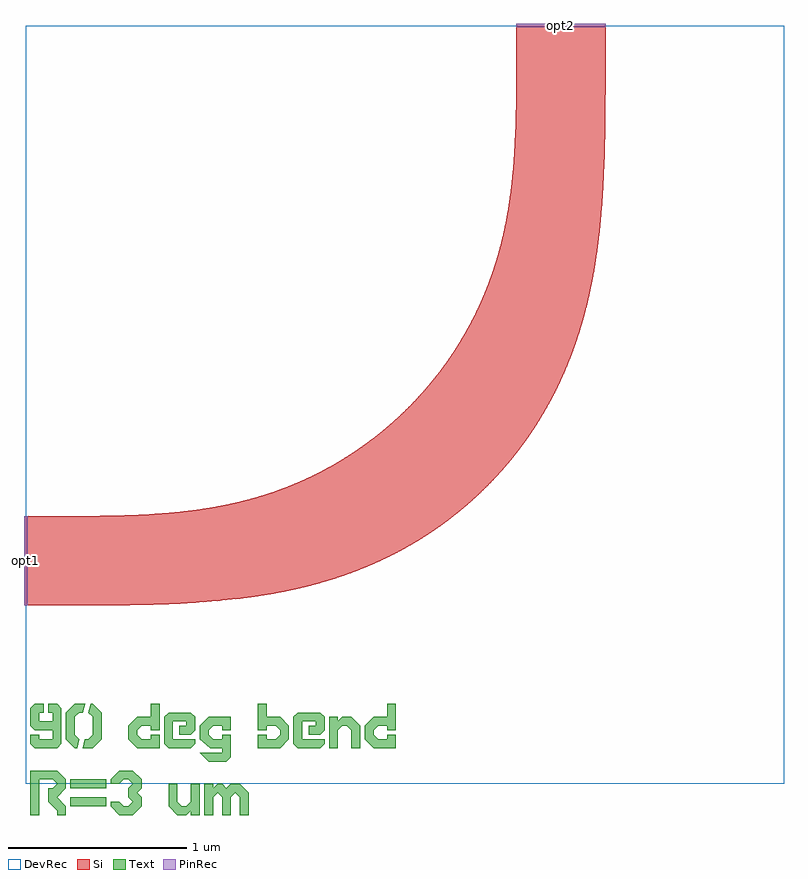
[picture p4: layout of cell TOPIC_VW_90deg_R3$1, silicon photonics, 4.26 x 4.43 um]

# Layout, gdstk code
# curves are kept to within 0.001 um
import gdstk
lib = gdstk.Library(unit=1e-6, precision=1e-09)
def R(c, l, rs):  # rectangles x0, y0, x1, y1
    for r in rs: c.add(gdstk.rectangle(r[:2], r[2:], *l))
def P(c, l, *ps):  # polygons
    for p in ps: c.add(gdstk.Polygon(p, *l))
Si = (1, 0)
PinRec = (1, 10)
Text = (10, 0)
DevRec = (68, 0)

text_gdsfactorypcomponen = lib.new_cell('text_gdsfactorypcomponentsptextsptext_T90_deg_bend*R3_u_a4dcf2a8$1')
R(text_gdsfactorypcomponen, Text, [(0.25,-0.325,0.45,-0.275), (0.25,-0.225,0.45,-0.175)])
P(text_gdsfactorypcomponen, Text, [(0.85,-0.375),(0.8,-0.325),(0.8,-0.2),(0.85,-0.2),(0.85,-0.3),(0.875,-0.325),(0.9,-0.325),(0.925,-0.3),(0.925,-0.2),(0.975,-0.2),(0.975,-0.375),(0.925,-0.375),(0.925,-0.35),(0.9,-0.375)],
  [(1,-0.375),(1,-0.2),(1.05,-0.2),(1.05,-0.225),(1.075,-0.2),(1.1,-0.2),(1.125,-0.225),(1.15,-0.2),(1.2,-0.2),(1.25,-0.25),(1.25,-0.375),(1.2,-0.375),(1.2,-0.275),(1.175,-0.25),(1.15,-0.275),(1.15,-0.375),(1.1,-0.375),(1.1,-0.275),(1.075,-0.25),(1.05,-0.275),(1.05,-0.375)],
  [(0.8,0),(0.775,0.025),(0.775,0.175),(0.8,0.2),(0.925,0.2),(0.95,0.175),(0.95,0.1),(0.925,0.075),(0.86,0.075),(0.86,0.125),(0.9,0.125),(0.9,0.15),(0.825,0.15),(0.825,0.05),(0.95,0.05),(0.95,0.025),(0.925,0)],
  [(1.525,0),(1.5,0.025),(1.5,0.175),(1.525,0.2),(1.65,0.2),(1.675,0.175),(1.675,0.1),(1.65,0.075),(1.585,0.075),(1.585,0.125),(1.625,0.125),(1.625,0.15),(1.55,0.15),(1.55,0.05),(1.675,0.05),(1.675,0.025),(1.65,0)],
  [(0.05,0),(0.025,0.025),(0.025,0.075),(0.075,0.075),(0.075,0.05),(0.15,0.05),(0.15,0.1),(0.05,0.1),(0.025,0.125),(0.025,0.225),(0.05,0.25),(0.1,0.25),(0.1,0.2),(0.075,0.2),(0.075,0.15),(0.15,0.15),(0.15,0.2),(0.125,0.2),(0.125,0.25),(0.175,0.25),(0.2,0.225),(0.2,0.025),(0.175,0)],
  [(0.275,0),(0.225,0.05),(0.225,0.2),(0.275,0.25),(0.333,0.25),(0.32,0.2),(0.3,0.2),(0.275,0.175),(0.275,0.075),(0.3,0.05),(0.288,0)],
  [(0.025,-0.375),(0.025,-0.125),(0.175,-0.125),(0.225,-0.175),(0.225,-0.225),(0.175,-0.275),(0.225,-0.325),(0.225,-0.375),(0.175,-0.375),(0.175,-0.35),(0.125,-0.3),(0.125,-0.225),(0.15,-0.225),(0.175,-0.2),(0.15,-0.175),(0.075,-0.175),(0.075,-0.375)],
  [(1.7,0),(1.7,0.175),(1.75,0.175),(1.75,0.15),(1.775,0.175),(1.825,0.175),(1.875,0.125),(1.875,0),(1.825,0),(1.825,0.1),(1.8,0.125),(1.775,0.125),(1.75,0.1),(1.75,0)],
  [(0.525,-0.375),(0.475,-0.325),(0.475,-0.3),(0.525,-0.3),(0.55,-0.325),(0.575,-0.325),(0.6,-0.3),(0.575,-0.275),(0.575,-0.225),(0.6,-0.2),(0.575,-0.175),(0.55,-0.175),(0.525,-0.2),(0.475,-0.2),(0.475,-0.175),(0.525,-0.125),(0.6,-0.125),(0.65,-0.175),(0.65,-0.225),(0.625,-0.25),(0.65,-0.275),(0.65,-0.325),(0.6,-0.375)],
  [(1.025,-0.075),(0.975,-0.025),(1.1,-0.025),(1.1,0),(1.033,0),(0.975,0.05),(0.975,0.125),(1.025,0.175),(1.15,0.175),(1.15,0.1),(1.1,0.1),(1.1,0.125),(1.05,0.125),(1.025,0.1),(1.025,0.075),(1.05,0.05),(1.1,0.05),(1.1,0.075),(1.15,0.075),(1.15,-0.05),(1.125,-0.075)],
  [(0.318,0),(0.33,0.05),(0.35,0.05),(0.375,0.075),(0.375,0.175),(0.35,0.2),(0.363,0.25),(0.375,0.25),(0.425,0.2),(0.425,0.05),(0.375,0)],
  [(1.3,0),(1.3,0.075),(1.35,0.075),(1.35,0.05),(1.4,0.05),(1.425,0.075),(1.425,0.1),(1.4,0.125),(1.35,0.125),(1.35,0.1),(1.3,0.1),(1.3,0.25),(1.35,0.25),(1.35,0.175),(1.425,0.175),(1.475,0.125),(1.475,0.05),(1.425,0)],
  [(0.625,0),(0.575,0.05),(0.575,0.125),(0.625,0.175),(0.7,0.175),(0.7,0.25),(0.75,0.25),(0.75,0.1),(0.7,0.1),(0.7,0.125),(0.65,0.125),(0.625,0.1),(0.625,0.075),(0.65,0.05),(0.7,0.05),(0.7,0.075),(0.75,0.075),(0.75,0)],
  [(1.95,0),(1.9,0.05),(1.9,0.125),(1.95,0.175),(2.025,0.175),(2.025,0.25),(2.075,0.25),(2.075,0.1),(2.025,0.1),(2.025,0.125),(1.975,0.125),(1.95,0.1),(1.95,0.075),(1.975,0.05),(2.025,0.05),(2.025,0.075),(2.075,0.075),(2.075,0)])

topic_vw_90deg_r3_1 = lib.new_cell('TOPIC_VW_90deg_R3$1')
P(topic_vw_90deg_r3_1, Si, [(0,-0.25),(0,0.25),(0.311,0.25),(0.473,0.252),(0.652,0.258),(0.79,0.267),(0.933,0.282),(1.053,0.3),(1.177,0.325),(1.282,0.352),(1.39,0.386),(1.437,0.404),(1.443,0.405),(1.534,0.442),(1.64,0.492),(1.741,0.547),(1.742,0.549),(1.781,0.571),(1.852,0.617),(1.952,0.689),(2.032,0.754),(2.133,0.847),(2.181,0.896),(2.246,0.968),(2.311,1.048),(2.383,1.148),(2.429,1.219),(2.451,1.258),(2.453,1.259),(2.508,1.36),(2.558,1.466),(2.595,1.557),(2.596,1.563),(2.614,1.61),(2.644,1.704),(2.675,1.823),(2.7,1.947),(2.718,2.067),(2.733,2.21),(2.742,2.348),(2.748,2.527),(2.75,2.689),(2.75,3),(3.25,3),(3.25,2.614),(3.248,2.417),(3.243,2.223),(3.235,2.06),(3.221,1.886),(3.209,1.78),(3.199,1.708),(3.186,1.627),(3.172,1.552),(3.143,1.423),(3.118,1.331),(3.099,1.269),(3.082,1.218),(3.05,1.131),(3.046,1.124),(3.021,1.061),(2.992,0.997),(2.957,0.926),(2.929,0.874),(2.887,0.802),(2.853,0.75),(2.853,0.748),(2.808,0.682),(2.775,0.637),(2.721,0.568),(2.717,0.565),(2.684,0.524),(2.603,0.436),(2.538,0.372),(2.503,0.34),(2.459,0.303),(2.456,0.299),(2.399,0.254),(2.392,0.247),(2.325,0.197),(2.252,0.147),(2.25,0.147),(2.198,0.113),(2.126,0.071),(2.074,0.043),(2.003,0.008),(1.939,-0.021),(1.876,-0.046),(1.869,-0.05),(1.782,-0.082),(1.731,-0.099),(1.604,-0.136),(1.514,-0.158),(1.448,-0.172),(1.373,-0.186),(1.292,-0.199),(1.22,-0.209),(1.114,-0.221),(0.94,-0.235),(0.777,-0.243),(0.583,-0.248),(0.386,-0.25)])
R(topic_vw_90deg_r3_1, DevRec, [(0,-1.25,4.25,3)])
topic_vw_90deg_r3_1.add(gdstk.FlexPath([(0.01,0),(-0.01,0)], 0.5, ends="flush", simple_path=True, layer=1, datatype=10))  # PinRec
topic_vw_90deg_r3_1.add(gdstk.FlexPath([(3,2.99),(3,3.01)], 0.5, ends="flush", simple_path=True, layer=1, datatype=10))  # PinRec
topic_vw_90deg_r3_1.add(gdstk.Reference(text_gdsfactorypcomponen, (0,-1.05)))
topic_vw_90deg_r3_1.add(gdstk.Label('opt1', (0,0), layer=1, texttype=10))
topic_vw_90deg_r3_1.add(gdstk.Label('opt2', (3,3), layer=1, texttype=10))

lib.write_gds('TOPIC_VW_90deg_R3_1.gds')
